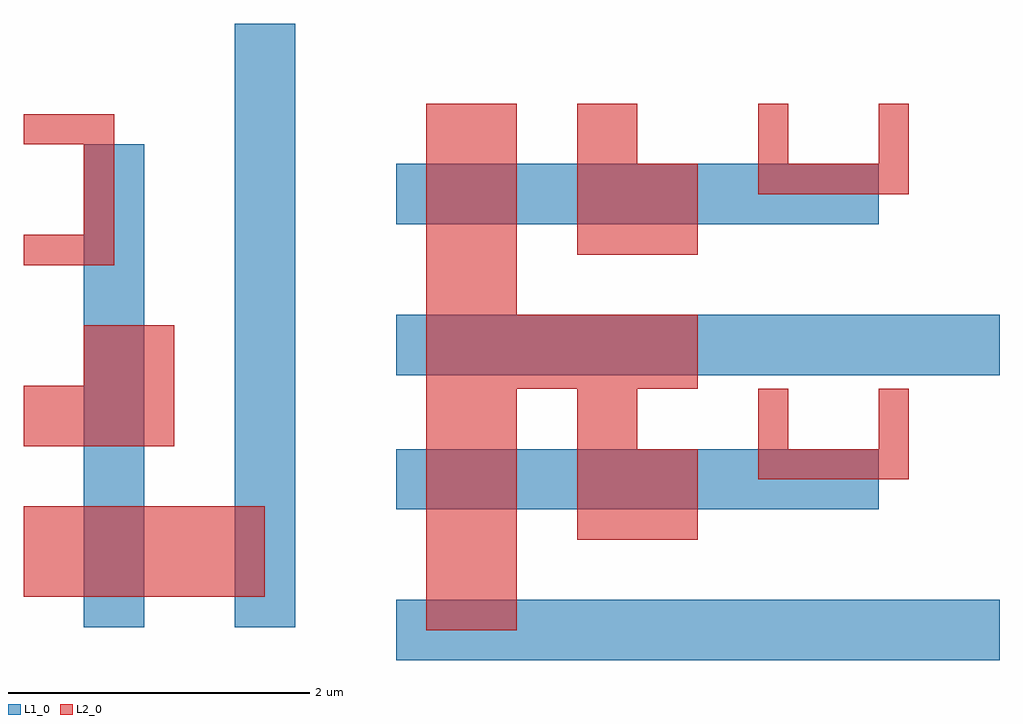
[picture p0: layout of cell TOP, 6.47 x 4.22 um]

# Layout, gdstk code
import gdstk
lib = gdstk.Library(unit=1e-6, precision=1e-09)
def R(c, l, rs):  # rectangles x0, y0, x1, y1
    for r in rs: c.add(gdstk.rectangle(r[:2], r[2:], *l))
def P(c, l, *ps):  # polygons
    for p in ps: c.add(gdstk.Polygon(p, *l))
L1_0 = (1, 0)
L2_0 = (2, 0)
L10_0 = (10, 0)
L11_0 = (11, 0)
L20_0 = (20, 0)
L21_0 = (21, 0)
L300_0 = (300, 0)
L301_0 = (301, 0)
L310_0 = (310, 0)
L311_0 = (311, 0)
L402_0 = (402, 0)
L403_0 = (403, 0)

top = lib.new_cell('TOP')
R(top, L1_0, [(0.07,0.18,4.07,0.58), (-2,0.4,-1.6,3.6), (-1,0.4,-0.6,4.4), (0.07,1.18,3.27,1.58), (0.07,2.07,4.07,2.47), (0.07,3.07,3.27,3.47)])
R(top, L2_0, [(0.27,0.38,0.87,1.98), (-2.4,0.6,-0.8,1.2), (0.27,1.98,2.07,2.47), (0.27,2.27,0.87,3.87)])
P(top, L2_0, [(1.27,0.98),(1.27,1.98),(1.67,1.98),(1.67,1.58),(2.07,1.58),(2.07,0.98)],
  [(2.47,1.38),(2.47,1.98),(2.67,1.98),(2.67,1.58),(3.27,1.58),(3.27,1.98),(3.47,1.98),(3.47,1.38)],
  [(-2.4,1.6),(-2.4,2),(-2,2),(-2,2.4),(-1.4,2.4),(-1.4,1.6)],
  [(-2.4,2.8),(-2.4,3),(-2,3),(-2,3.6),(-2.4,3.6),(-2.4,3.8),(-1.8,3.8),(-1.8,2.8)],
  [(1.27,2.87),(1.27,3.87),(1.67,3.87),(1.67,3.47),(2.07,3.47),(2.07,2.87)],
  [(2.47,3.27),(2.47,3.87),(2.67,3.87),(2.67,3.47),(3.27,3.47),(3.27,3.87),(3.47,3.87),(3.47,3.27)])
top.add(gdstk.FlexPath([(0.07,0.18),(0.07,0.58)], 0, ends="flush", simple_path=True, layer=10, datatype=0))  # L10_0
top.add(gdstk.FlexPath([(0.07,0.58),(4.07,0.58)], 0, ends="flush", simple_path=True, layer=10, datatype=0))  # L10_0
top.add(gdstk.FlexPath([(4.07,0.58),(4.07,0.18)], 0, ends="flush", simple_path=True, layer=10, datatype=0))  # L10_0
top.add(gdstk.FlexPath([(4.07,0.18),(0.07,0.18)], 0, ends="flush", simple_path=True, layer=10, datatype=0))  # L10_0
top.add(gdstk.FlexPath([(0.07,1.18),(0.07,1.58)], 0, ends="flush", simple_path=True, layer=10, datatype=0))  # L10_0
top.add(gdstk.FlexPath([(0.07,1.58),(3.27,1.58)], 0, ends="flush", simple_path=True, layer=10, datatype=0))  # L10_0
top.add(gdstk.FlexPath([(3.27,1.58),(3.27,1.18)], 0, ends="flush", simple_path=True, layer=10, datatype=0))  # L10_0
top.add(gdstk.FlexPath([(3.27,1.18),(0.07,1.18)], 0, ends="flush", simple_path=True, layer=10, datatype=0))  # L10_0
top.add(gdstk.FlexPath([(0.07,2.07),(0.07,2.47)], 0, ends="flush", simple_path=True, layer=10, datatype=0))  # L10_0
top.add(gdstk.FlexPath([(0.07,2.47),(4.07,2.47)], 0, ends="flush", simple_path=True, layer=10, datatype=0))  # L10_0
top.add(gdstk.FlexPath([(4.07,2.47),(4.07,2.07)], 0, ends="flush", simple_path=True, layer=10, datatype=0))  # L10_0
top.add(gdstk.FlexPath([(4.07,2.07),(0.07,2.07)], 0, ends="flush", simple_path=True, layer=10, datatype=0))  # L10_0
top.add(gdstk.FlexPath([(0.07,3.07),(0.07,3.47)], 0, ends="flush", simple_path=True, layer=10, datatype=0))  # L10_0
top.add(gdstk.FlexPath([(0.07,3.47),(3.27,3.47)], 0, ends="flush", simple_path=True, layer=10, datatype=0))  # L10_0
top.add(gdstk.FlexPath([(3.27,3.47),(3.27,3.07)], 0, ends="flush", simple_path=True, layer=10, datatype=0))  # L10_0
top.add(gdstk.FlexPath([(3.27,3.07),(0.07,3.07)], 0, ends="flush", simple_path=True, layer=10, datatype=0))  # L10_0
top.add(gdstk.FlexPath([(-2,0.4),(-2,3.6)], 0, ends="flush", simple_path=True, layer=10, datatype=0))  # L10_0
top.add(gdstk.FlexPath([(-2,3.6),(-1.6,3.6)], 0, ends="flush", simple_path=True, layer=10, datatype=0))  # L10_0
top.add(gdstk.FlexPath([(-1.6,3.6),(-1.6,0.4)], 0, ends="flush", simple_path=True, layer=10, datatype=0))  # L10_0
top.add(gdstk.FlexPath([(-1.6,0.4),(-2,0.4)], 0, ends="flush", simple_path=True, layer=10, datatype=0))  # L10_0
top.add(gdstk.FlexPath([(-1,0.4),(-1,4.4)], 0, ends="flush", simple_path=True, layer=10, datatype=0))  # L10_0
top.add(gdstk.FlexPath([(-1,4.4),(-0.6,4.4)], 0, ends="flush", simple_path=True, layer=10, datatype=0))  # L10_0
top.add(gdstk.FlexPath([(-0.6,4.4),(-0.6,0.4)], 0, ends="flush", simple_path=True, layer=10, datatype=0))  # L10_0
top.add(gdstk.FlexPath([(-0.6,0.4),(-1,0.4)], 0, ends="flush", simple_path=True, layer=10, datatype=0))  # L10_0
top.add(gdstk.FlexPath([(-2.4,0.6),(-2.4,1.2)], 0, ends="flush", simple_path=True, layer=11, datatype=0))  # L11_0
top.add(gdstk.FlexPath([(-2.4,1.2),(-0.8,1.2)], 0, ends="flush", simple_path=True, layer=11, datatype=0))  # L11_0
top.add(gdstk.FlexPath([(-0.8,1.2),(-0.8,0.6)], 0, ends="flush", simple_path=True, layer=11, datatype=0))  # L11_0
top.add(gdstk.FlexPath([(-0.8,0.6),(-2.4,0.6)], 0, ends="flush", simple_path=True, layer=11, datatype=0))  # L11_0
top.add(gdstk.FlexPath([(2.47,1.38),(2.47,1.98)], 0, ends="flush", simple_path=True, layer=11, datatype=0))  # L11_0
top.add(gdstk.FlexPath([(2.47,1.98),(2.67,1.98)], 0, ends="flush", simple_path=True, layer=11, datatype=0))  # L11_0
top.add(gdstk.FlexPath([(2.67,1.98),(2.67,1.58)], 0, ends="flush", simple_path=True, layer=11, datatype=0))  # L11_0
top.add(gdstk.FlexPath([(2.67,1.58),(3.27,1.58)], 0, ends="flush", simple_path=True, layer=11, datatype=0))  # L11_0
top.add(gdstk.FlexPath([(3.27,1.58),(3.27,1.98)], 0, ends="flush", simple_path=True, layer=11, datatype=0))  # L11_0
top.add(gdstk.FlexPath([(3.27,1.98),(3.47,1.98)], 0, ends="flush", simple_path=True, layer=11, datatype=0))  # L11_0
top.add(gdstk.FlexPath([(3.47,1.98),(3.47,1.38)], 0, ends="flush", simple_path=True, layer=11, datatype=0))  # L11_0
top.add(gdstk.FlexPath([(3.47,1.38),(2.47,1.38)], 0, ends="flush", simple_path=True, layer=11, datatype=0))  # L11_0
top.add(gdstk.FlexPath([(-2.4,1.6),(-2.4,2)], 0, ends="flush", simple_path=True, layer=11, datatype=0))  # L11_0
top.add(gdstk.FlexPath([(-2.4,2),(-2,2)], 0, ends="flush", simple_path=True, layer=11, datatype=0))  # L11_0
top.add(gdstk.FlexPath([(-2,2),(-2,2.4)], 0, ends="flush", simple_path=True, layer=11, datatype=0))  # L11_0
top.add(gdstk.FlexPath([(-2,2.4),(-1.4,2.4)], 0, ends="flush", simple_path=True, layer=11, datatype=0))  # L11_0
top.add(gdstk.FlexPath([(-1.4,2.4),(-1.4,1.6)], 0, ends="flush", simple_path=True, layer=11, datatype=0))  # L11_0
top.add(gdstk.FlexPath([(-1.4,1.6),(-2.4,1.6)], 0, ends="flush", simple_path=True, layer=11, datatype=0))  # L11_0
top.add(gdstk.FlexPath([(-2.4,2.8),(-2.4,3)], 0, ends="flush", simple_path=True, layer=11, datatype=0))  # L11_0
top.add(gdstk.FlexPath([(-2.4,3),(-2,3)], 0, ends="flush", simple_path=True, layer=11, datatype=0))  # L11_0
top.add(gdstk.FlexPath([(-2,3),(-2,3.6)], 0, ends="flush", simple_path=True, layer=11, datatype=0))  # L11_0
top.add(gdstk.FlexPath([(-2,3.6),(-2.4,3.6)], 0, ends="flush", simple_path=True, layer=11, datatype=0))  # L11_0
top.add(gdstk.FlexPath([(-2.4,3.6),(-2.4,3.8)], 0, ends="flush", simple_path=True, layer=11, datatype=0))  # L11_0
top.add(gdstk.FlexPath([(-2.4,3.8),(-1.8,3.8)], 0, ends="flush", simple_path=True, layer=11, datatype=0))  # L11_0
top.add(gdstk.FlexPath([(-1.8,3.8),(-1.8,2.8)], 0, ends="flush", simple_path=True, layer=11, datatype=0))  # L11_0
top.add(gdstk.FlexPath([(-1.8,2.8),(-2.4,2.8)], 0, ends="flush", simple_path=True, layer=11, datatype=0))  # L11_0
top.add(gdstk.FlexPath([(0.27,0.38),(0.27,3.87)], 0, ends="flush", simple_path=True, layer=11, datatype=0))  # L11_0
top.add(gdstk.FlexPath([(0.27,3.87),(0.87,3.87)], 0, ends="flush", simple_path=True, layer=11, datatype=0))  # L11_0
top.add(gdstk.FlexPath([(0.87,3.87),(0.87,2.47)], 0, ends="flush", simple_path=True, layer=11, datatype=0))  # L11_0
top.add(gdstk.FlexPath([(0.87,2.47),(2.07,2.47)], 0, ends="flush", simple_path=True, layer=11, datatype=0))  # L11_0
top.add(gdstk.FlexPath([(2.07,2.47),(2.07,1.98)], 0, ends="flush", simple_path=True, layer=11, datatype=0))  # L11_0
top.add(gdstk.FlexPath([(2.07,1.98),(1.67,1.98)], 0, ends="flush", simple_path=True, layer=11, datatype=0))  # L11_0
top.add(gdstk.FlexPath([(1.67,1.98),(1.67,1.58)], 0, ends="flush", simple_path=True, layer=11, datatype=0))  # L11_0
top.add(gdstk.FlexPath([(1.67,1.58),(2.07,1.58)], 0, ends="flush", simple_path=True, layer=11, datatype=0))  # L11_0
top.add(gdstk.FlexPath([(2.07,1.58),(2.07,0.98)], 0, ends="flush", simple_path=True, layer=11, datatype=0))  # L11_0
top.add(gdstk.FlexPath([(2.07,0.98),(1.27,0.98)], 0, ends="flush", simple_path=True, layer=11, datatype=0))  # L11_0
top.add(gdstk.FlexPath([(1.27,0.98),(1.27,1.98)], 0, ends="flush", simple_path=True, layer=11, datatype=0))  # L11_0
top.add(gdstk.FlexPath([(1.27,1.98),(0.87,1.98)], 0, ends="flush", simple_path=True, layer=11, datatype=0))  # L11_0
top.add(gdstk.FlexPath([(0.87,1.98),(0.87,0.38)], 0, ends="flush", simple_path=True, layer=11, datatype=0))  # L11_0
top.add(gdstk.FlexPath([(0.87,0.38),(0.27,0.38)], 0, ends="flush", simple_path=True, layer=11, datatype=0))  # L11_0
top.add(gdstk.FlexPath([(1.27,2.87),(1.27,3.87)], 0, ends="flush", simple_path=True, layer=11, datatype=0))  # L11_0
top.add(gdstk.FlexPath([(1.27,3.87),(1.67,3.87)], 0, ends="flush", simple_path=True, layer=11, datatype=0))  # L11_0
top.add(gdstk.FlexPath([(1.67,3.87),(1.67,3.47)], 0, ends="flush", simple_path=True, layer=11, datatype=0))  # L11_0
top.add(gdstk.FlexPath([(1.67,3.47),(2.07,3.47)], 0, ends="flush", simple_path=True, layer=11, datatype=0))  # L11_0
top.add(gdstk.FlexPath([(2.07,3.47),(2.07,2.87)], 0, ends="flush", simple_path=True, layer=11, datatype=0))  # L11_0
top.add(gdstk.FlexPath([(2.07,2.87),(1.27,2.87)], 0, ends="flush", simple_path=True, layer=11, datatype=0))  # L11_0
top.add(gdstk.FlexPath([(2.47,3.27),(2.47,3.87)], 0, ends="flush", simple_path=True, layer=11, datatype=0))  # L11_0
top.add(gdstk.FlexPath([(2.47,3.87),(2.67,3.87)], 0, ends="flush", simple_path=True, layer=11, datatype=0))  # L11_0
top.add(gdstk.FlexPath([(2.67,3.87),(2.67,3.47)], 0, ends="flush", simple_path=True, layer=11, datatype=0))  # L11_0
top.add(gdstk.FlexPath([(2.67,3.47),(3.27,3.47)], 0, ends="flush", simple_path=True, layer=11, datatype=0))  # L11_0
top.add(gdstk.FlexPath([(3.27,3.47),(3.27,3.87)], 0, ends="flush", simple_path=True, layer=11, datatype=0))  # L11_0
top.add(gdstk.FlexPath([(3.27,3.87),(3.47,3.87)], 0, ends="flush", simple_path=True, layer=11, datatype=0))  # L11_0
top.add(gdstk.FlexPath([(3.47,3.87),(3.47,3.27)], 0, ends="flush", simple_path=True, layer=11, datatype=0))  # L11_0
top.add(gdstk.FlexPath([(3.47,3.27),(2.47,3.27)], 0, ends="flush", simple_path=True, layer=11, datatype=0))  # L11_0
top.add(gdstk.FlexPath([(4.07,0.18),(4.07,0.18)], 0, ends="flush", simple_path=True, layer=20, datatype=0))  # L20_0
top.add(gdstk.FlexPath([(0.07,0.18),(0.07,0.18)], 0, ends="flush", simple_path=True, layer=20, datatype=0))  # L20_0
top.add(gdstk.FlexPath([(0.07,0.58),(0.07,0.58)], 0, ends="flush", simple_path=True, layer=20, datatype=0))  # L20_0
top.add(gdstk.FlexPath([(4.07,0.58),(4.07,0.58)], 0, ends="flush", simple_path=True, layer=20, datatype=0))  # L20_0
top.add(gdstk.FlexPath([(3.27,1.18),(3.27,1.18)], 0, ends="flush", simple_path=True, layer=20, datatype=0))  # L20_0
top.add(gdstk.FlexPath([(0.07,1.18),(0.07,1.18)], 0, ends="flush", simple_path=True, layer=20, datatype=0))  # L20_0
top.add(gdstk.FlexPath([(0.07,1.58),(0.07,1.58)], 0, ends="flush", simple_path=True, layer=20, datatype=0))  # L20_0
top.add(gdstk.FlexPath([(3.27,1.58),(3.27,1.58)], 0, ends="flush", simple_path=True, layer=20, datatype=0))  # L20_0
top.add(gdstk.FlexPath([(4.07,2.07),(4.07,2.07)], 0, ends="flush", simple_path=True, layer=20, datatype=0))  # L20_0
top.add(gdstk.FlexPath([(0.07,2.07),(0.07,2.07)], 0, ends="flush", simple_path=True, layer=20, datatype=0))  # L20_0
top.add(gdstk.FlexPath([(0.07,2.47),(0.07,2.47)], 0, ends="flush", simple_path=True, layer=20, datatype=0))  # L20_0
top.add(gdstk.FlexPath([(4.07,2.47),(4.07,2.47)], 0, ends="flush", simple_path=True, layer=20, datatype=0))  # L20_0
top.add(gdstk.FlexPath([(3.27,3.07),(3.27,3.07)], 0, ends="flush", simple_path=True, layer=20, datatype=0))  # L20_0
top.add(gdstk.FlexPath([(0.07,3.07),(0.07,3.07)], 0, ends="flush", simple_path=True, layer=20, datatype=0))  # L20_0
top.add(gdstk.FlexPath([(0.07,3.47),(0.07,3.47)], 0, ends="flush", simple_path=True, layer=20, datatype=0))  # L20_0
top.add(gdstk.FlexPath([(3.27,3.47),(3.27,3.47)], 0, ends="flush", simple_path=True, layer=20, datatype=0))  # L20_0
top.add(gdstk.FlexPath([(-1.6,0.4),(-1.6,0.4)], 0, ends="flush", simple_path=True, layer=20, datatype=0))  # L20_0
top.add(gdstk.FlexPath([(-2,0.4),(-2,0.4)], 0, ends="flush", simple_path=True, layer=20, datatype=0))  # L20_0
top.add(gdstk.FlexPath([(-2,3.6),(-2,3.6)], 0, ends="flush", simple_path=True, layer=20, datatype=0))  # L20_0
top.add(gdstk.FlexPath([(-1.6,3.6),(-1.6,3.6)], 0, ends="flush", simple_path=True, layer=20, datatype=0))  # L20_0
top.add(gdstk.FlexPath([(-0.6,0.4),(-0.6,0.4)], 0, ends="flush", simple_path=True, layer=20, datatype=0))  # L20_0
top.add(gdstk.FlexPath([(-1,0.4),(-1,0.4)], 0, ends="flush", simple_path=True, layer=20, datatype=0))  # L20_0
top.add(gdstk.FlexPath([(-1,4.4),(-1,4.4)], 0, ends="flush", simple_path=True, layer=20, datatype=0))  # L20_0
top.add(gdstk.FlexPath([(-0.6,4.4),(-0.6,4.4)], 0, ends="flush", simple_path=True, layer=20, datatype=0))  # L20_0
top.add(gdstk.FlexPath([(-0.8,0.6),(-0.8,0.6)], 0, ends="flush", simple_path=True, layer=21, datatype=0))  # L21_0
top.add(gdstk.FlexPath([(-2.4,0.6),(-2.4,0.6)], 0, ends="flush", simple_path=True, layer=21, datatype=0))  # L21_0
top.add(gdstk.FlexPath([(-2.4,1.2),(-2.4,1.2)], 0, ends="flush", simple_path=True, layer=21, datatype=0))  # L21_0
top.add(gdstk.FlexPath([(-0.8,1.2),(-0.8,1.2)], 0, ends="flush", simple_path=True, layer=21, datatype=0))  # L21_0
top.add(gdstk.FlexPath([(3.47,1.38),(3.47,1.38)], 0, ends="flush", simple_path=True, layer=21, datatype=0))  # L21_0
top.add(gdstk.FlexPath([(2.47,1.38),(2.47,1.38)], 0, ends="flush", simple_path=True, layer=21, datatype=0))  # L21_0
top.add(gdstk.FlexPath([(2.47,1.98),(2.47,1.98)], 0, ends="flush", simple_path=True, layer=21, datatype=0))  # L21_0
top.add(gdstk.FlexPath([(2.67,1.98),(2.67,1.98)], 0, ends="flush", simple_path=True, layer=21, datatype=0))  # L21_0
top.add(gdstk.FlexPath([(2.67,1.58),(2.67,1.58)], 0, ends="flush", simple_path=True, layer=21, datatype=0))  # L21_0
top.add(gdstk.FlexPath([(3.27,1.58),(3.27,1.58)], 0, ends="flush", simple_path=True, layer=21, datatype=0))  # L21_0
top.add(gdstk.FlexPath([(3.27,1.98),(3.27,1.98)], 0, ends="flush", simple_path=True, layer=21, datatype=0))  # L21_0
top.add(gdstk.FlexPath([(3.47,1.98),(3.47,1.98)], 0, ends="flush", simple_path=True, layer=21, datatype=0))  # L21_0
top.add(gdstk.FlexPath([(-1.4,1.6),(-1.4,1.6)], 0, ends="flush", simple_path=True, layer=21, datatype=0))  # L21_0
top.add(gdstk.FlexPath([(-2.4,1.6),(-2.4,1.6)], 0, ends="flush", simple_path=True, layer=21, datatype=0))  # L21_0
top.add(gdstk.FlexPath([(-2.4,2),(-2.4,2)], 0, ends="flush", simple_path=True, layer=21, datatype=0))  # L21_0
top.add(gdstk.FlexPath([(-2,2),(-2,2)], 0, ends="flush", simple_path=True, layer=21, datatype=0))  # L21_0
top.add(gdstk.FlexPath([(-2,2.4),(-2,2.4)], 0, ends="flush", simple_path=True, layer=21, datatype=0))  # L21_0
top.add(gdstk.FlexPath([(-1.4,2.4),(-1.4,2.4)], 0, ends="flush", simple_path=True, layer=21, datatype=0))  # L21_0
top.add(gdstk.FlexPath([(-1.8,2.8),(-1.8,2.8)], 0, ends="flush", simple_path=True, layer=21, datatype=0))  # L21_0
top.add(gdstk.FlexPath([(-2.4,2.8),(-2.4,2.8)], 0, ends="flush", simple_path=True, layer=21, datatype=0))  # L21_0
top.add(gdstk.FlexPath([(-2.4,3),(-2.4,3)], 0, ends="flush", simple_path=True, layer=21, datatype=0))  # L21_0
top.add(gdstk.FlexPath([(-2,3),(-2,3)], 0, ends="flush", simple_path=True, layer=21, datatype=0))  # L21_0
top.add(gdstk.FlexPath([(-2,3.6),(-2,3.6)], 0, ends="flush", simple_path=True, layer=21, datatype=0))  # L21_0
top.add(gdstk.FlexPath([(-2.4,3.6),(-2.4,3.6)], 0, ends="flush", simple_path=True, layer=21, datatype=0))  # L21_0
top.add(gdstk.FlexPath([(-2.4,3.8),(-2.4,3.8)], 0, ends="flush", simple_path=True, layer=21, datatype=0))  # L21_0
top.add(gdstk.FlexPath([(-1.8,3.8),(-1.8,3.8)], 0, ends="flush", simple_path=True, layer=21, datatype=0))  # L21_0
top.add(gdstk.FlexPath([(0.87,0.38),(0.87,0.38)], 0, ends="flush", simple_path=True, layer=21, datatype=0))  # L21_0
top.add(gdstk.FlexPath([(0.27,0.38),(0.27,0.38)], 0, ends="flush", simple_path=True, layer=21, datatype=0))  # L21_0
top.add(gdstk.FlexPath([(0.27,3.87),(0.27,3.87)], 0, ends="flush", simple_path=True, layer=21, datatype=0))  # L21_0
top.add(gdstk.FlexPath([(0.87,3.87),(0.87,3.87)], 0, ends="flush", simple_path=True, layer=21, datatype=0))  # L21_0
top.add(gdstk.FlexPath([(0.87,2.47),(0.87,2.47)], 0, ends="flush", simple_path=True, layer=21, datatype=0))  # L21_0
top.add(gdstk.FlexPath([(2.07,2.47),(2.07,2.47)], 0, ends="flush", simple_path=True, layer=21, datatype=0))  # L21_0
top.add(gdstk.FlexPath([(2.07,1.98),(2.07,1.98)], 0, ends="flush", simple_path=True, layer=21, datatype=0))  # L21_0
top.add(gdstk.FlexPath([(1.67,1.98),(1.67,1.98)], 0, ends="flush", simple_path=True, layer=21, datatype=0))  # L21_0
top.add(gdstk.FlexPath([(1.67,1.58),(1.67,1.58)], 0, ends="flush", simple_path=True, layer=21, datatype=0))  # L21_0
top.add(gdstk.FlexPath([(2.07,1.58),(2.07,1.58)], 0, ends="flush", simple_path=True, layer=21, datatype=0))  # L21_0
top.add(gdstk.FlexPath([(2.07,0.98),(2.07,0.98)], 0, ends="flush", simple_path=True, layer=21, datatype=0))  # L21_0
top.add(gdstk.FlexPath([(1.27,0.98),(1.27,0.98)], 0, ends="flush", simple_path=True, layer=21, datatype=0))  # L21_0
top.add(gdstk.FlexPath([(1.27,1.98),(1.27,1.98)], 0, ends="flush", simple_path=True, layer=21, datatype=0))  # L21_0
top.add(gdstk.FlexPath([(0.87,1.98),(0.87,1.98)], 0, ends="flush", simple_path=True, layer=21, datatype=0))  # L21_0
top.add(gdstk.FlexPath([(2.07,2.87),(2.07,2.87)], 0, ends="flush", simple_path=True, layer=21, datatype=0))  # L21_0
top.add(gdstk.FlexPath([(1.27,2.87),(1.27,2.87)], 0, ends="flush", simple_path=True, layer=21, datatype=0))  # L21_0
top.add(gdstk.FlexPath([(1.27,3.87),(1.27,3.87)], 0, ends="flush", simple_path=True, layer=21, datatype=0))  # L21_0
top.add(gdstk.FlexPath([(1.67,3.87),(1.67,3.87)], 0, ends="flush", simple_path=True, layer=21, datatype=0))  # L21_0
top.add(gdstk.FlexPath([(1.67,3.47),(1.67,3.47)], 0, ends="flush", simple_path=True, layer=21, datatype=0))  # L21_0
top.add(gdstk.FlexPath([(2.07,3.47),(2.07,3.47)], 0, ends="flush", simple_path=True, layer=21, datatype=0))  # L21_0
top.add(gdstk.FlexPath([(3.47,3.27),(3.47,3.27)], 0, ends="flush", simple_path=True, layer=21, datatype=0))  # L21_0
top.add(gdstk.FlexPath([(2.47,3.27),(2.47,3.27)], 0, ends="flush", simple_path=True, layer=21, datatype=0))  # L21_0
top.add(gdstk.FlexPath([(2.47,3.87),(2.47,3.87)], 0, ends="flush", simple_path=True, layer=21, datatype=0))  # L21_0
top.add(gdstk.FlexPath([(2.67,3.87),(2.67,3.87)], 0, ends="flush", simple_path=True, layer=21, datatype=0))  # L21_0
top.add(gdstk.FlexPath([(2.67,3.47),(2.67,3.47)], 0, ends="flush", simple_path=True, layer=21, datatype=0))  # L21_0
top.add(gdstk.FlexPath([(3.27,3.47),(3.27,3.47)], 0, ends="flush", simple_path=True, layer=21, datatype=0))  # L21_0
top.add(gdstk.FlexPath([(3.27,3.87),(3.27,3.87)], 0, ends="flush", simple_path=True, layer=21, datatype=0))  # L21_0
top.add(gdstk.FlexPath([(3.47,3.87),(3.47,3.87)], 0, ends="flush", simple_path=True, layer=21, datatype=0))  # L21_0
top.add(gdstk.FlexPath([(-0.8,0.6),(-0.8,0.6)], 0, ends="flush", simple_path=True, layer=300, datatype=0))  # L300_0
top.add(gdstk.FlexPath([(-0.8,1.2),(-0.8,1.2)], 0, ends="flush", simple_path=True, layer=300, datatype=0))  # L300_0
top.add(gdstk.FlexPath([(2.47,1.38),(2.47,1.38)], 0, ends="flush", simple_path=True, layer=300, datatype=0))  # L300_0
top.add(gdstk.FlexPath([(2.67,1.58),(2.67,1.58)], 0, ends="flush", simple_path=True, layer=300, datatype=0))  # L300_0
top.add(gdstk.FlexPath([(3.27,1.58),(3.27,1.58)], 0, ends="flush", simple_path=True, layer=300, datatype=0))  # L300_0
top.add(gdstk.FlexPath([(-2,2),(-2,2)], 0, ends="flush", simple_path=True, layer=300, datatype=0))  # L300_0
top.add(gdstk.FlexPath([(-2,2.4),(-2,2.4)], 0, ends="flush", simple_path=True, layer=300, datatype=0))  # L300_0
top.add(gdstk.FlexPath([(-1.8,2.8),(-1.8,2.8)], 0, ends="flush", simple_path=True, layer=300, datatype=0))  # L300_0
top.add(gdstk.FlexPath([(-2,3),(-2,3)], 0, ends="flush", simple_path=True, layer=300, datatype=0))  # L300_0
top.add(gdstk.FlexPath([(-2,3.6),(-2,3.6)], 0, ends="flush", simple_path=True, layer=300, datatype=0))  # L300_0
top.add(gdstk.FlexPath([(0.87,0.38),(0.87,0.38)], 0, ends="flush", simple_path=True, layer=300, datatype=0))  # L300_0
top.add(gdstk.FlexPath([(0.27,0.38),(0.27,0.38)], 0, ends="flush", simple_path=True, layer=300, datatype=0))  # L300_0
top.add(gdstk.FlexPath([(0.87,2.47),(0.87,2.47)], 0, ends="flush", simple_path=True, layer=300, datatype=0))  # L300_0
top.add(gdstk.FlexPath([(2.07,2.47),(2.07,2.47)], 0, ends="flush", simple_path=True, layer=300, datatype=0))  # L300_0
top.add(gdstk.FlexPath([(1.67,1.58),(1.67,1.58)], 0, ends="flush", simple_path=True, layer=300, datatype=0))  # L300_0
top.add(gdstk.FlexPath([(2.07,1.58),(2.07,1.58)], 0, ends="flush", simple_path=True, layer=300, datatype=0))  # L300_0
top.add(gdstk.FlexPath([(1.67,3.47),(1.67,3.47)], 0, ends="flush", simple_path=True, layer=300, datatype=0))  # L300_0
top.add(gdstk.FlexPath([(2.07,3.47),(2.07,3.47)], 0, ends="flush", simple_path=True, layer=300, datatype=0))  # L300_0
top.add(gdstk.FlexPath([(2.47,3.27),(2.47,3.27)], 0, ends="flush", simple_path=True, layer=300, datatype=0))  # L300_0
top.add(gdstk.FlexPath([(2.67,3.47),(2.67,3.47)], 0, ends="flush", simple_path=True, layer=300, datatype=0))  # L300_0
top.add(gdstk.FlexPath([(3.27,3.47),(3.27,3.47)], 0, ends="flush", simple_path=True, layer=300, datatype=0))  # L300_0
top.add(gdstk.FlexPath([(-2.4,0.6),(-2.4,0.6)], 0, ends="flush", simple_path=True, layer=301, datatype=0))  # L301_0
top.add(gdstk.FlexPath([(-2.4,1.2),(-2.4,1.2)], 0, ends="flush", simple_path=True, layer=301, datatype=0))  # L301_0
top.add(gdstk.FlexPath([(3.47,1.38),(3.47,1.38)], 0, ends="flush", simple_path=True, layer=301, datatype=0))  # L301_0
top.add(gdstk.FlexPath([(2.47,1.98),(2.47,1.98)], 0, ends="flush", simple_path=True, layer=301, datatype=0))  # L301_0
top.add(gdstk.FlexPath([(2.67,1.98),(2.67,1.98)], 0, ends="flush", simple_path=True, layer=301, datatype=0))  # L301_0
top.add(gdstk.FlexPath([(3.27,1.98),(3.27,1.98)], 0, ends="flush", simple_path=True, layer=301, datatype=0))  # L301_0
top.add(gdstk.FlexPath([(3.47,1.98),(3.47,1.98)], 0, ends="flush", simple_path=True, layer=301, datatype=0))  # L301_0
top.add(gdstk.FlexPath([(-1.4,1.6),(-1.4,1.6)], 0, ends="flush", simple_path=True, layer=301, datatype=0))  # L301_0
top.add(gdstk.FlexPath([(-2.4,1.6),(-2.4,1.6)], 0, ends="flush", simple_path=True, layer=301, datatype=0))  # L301_0
top.add(gdstk.FlexPath([(-2.4,2),(-2.4,2)], 0, ends="flush", simple_path=True, layer=301, datatype=0))  # L301_0
top.add(gdstk.FlexPath([(-1.4,2.4),(-1.4,2.4)], 0, ends="flush", simple_path=True, layer=301, datatype=0))  # L301_0
top.add(gdstk.FlexPath([(-2.4,2.8),(-2.4,2.8)], 0, ends="flush", simple_path=True, layer=301, datatype=0))  # L301_0
top.add(gdstk.FlexPath([(-2.4,3),(-2.4,3)], 0, ends="flush", simple_path=True, layer=301, datatype=0))  # L301_0
top.add(gdstk.FlexPath([(-2.4,3.6),(-2.4,3.6)], 0, ends="flush", simple_path=True, layer=301, datatype=0))  # L301_0
top.add(gdstk.FlexPath([(-2.4,3.8),(-2.4,3.8)], 0, ends="flush", simple_path=True, layer=301, datatype=0))  # L301_0
top.add(gdstk.FlexPath([(-1.8,3.8),(-1.8,3.8)], 0, ends="flush", simple_path=True, layer=301, datatype=0))  # L301_0
top.add(gdstk.FlexPath([(0.27,3.87),(0.27,3.87)], 0, ends="flush", simple_path=True, layer=301, datatype=0))  # L301_0
top.add(gdstk.FlexPath([(0.87,3.87),(0.87,3.87)], 0, ends="flush", simple_path=True, layer=301, datatype=0))  # L301_0
top.add(gdstk.FlexPath([(2.07,1.98),(2.07,1.98)], 0, ends="flush", simple_path=True, layer=301, datatype=0))  # L301_0
top.add(gdstk.FlexPath([(1.67,1.98),(1.67,1.98)], 0, ends="flush", simple_path=True, layer=301, datatype=0))  # L301_0
top.add(gdstk.FlexPath([(2.07,0.98),(2.07,0.98)], 0, ends="flush", simple_path=True, layer=301, datatype=0))  # L301_0
top.add(gdstk.FlexPath([(1.27,0.98),(1.27,0.98)], 0, ends="flush", simple_path=True, layer=301, datatype=0))  # L301_0
top.add(gdstk.FlexPath([(1.27,1.98),(1.27,1.98)], 0, ends="flush", simple_path=True, layer=301, datatype=0))  # L301_0
top.add(gdstk.FlexPath([(0.87,1.98),(0.87,1.98)], 0, ends="flush", simple_path=True, layer=301, datatype=0))  # L301_0
top.add(gdstk.FlexPath([(2.07,2.87),(2.07,2.87)], 0, ends="flush", simple_path=True, layer=301, datatype=0))  # L301_0
top.add(gdstk.FlexPath([(1.27,2.87),(1.27,2.87)], 0, ends="flush", simple_path=True, layer=301, datatype=0))  # L301_0
top.add(gdstk.FlexPath([(1.27,3.87),(1.27,3.87)], 0, ends="flush", simple_path=True, layer=301, datatype=0))  # L301_0
top.add(gdstk.FlexPath([(1.67,3.87),(1.67,3.87)], 0, ends="flush", simple_path=True, layer=301, datatype=0))  # L301_0
top.add(gdstk.FlexPath([(3.47,3.27),(3.47,3.27)], 0, ends="flush", simple_path=True, layer=301, datatype=0))  # L301_0
top.add(gdstk.FlexPath([(2.47,3.87),(2.47,3.87)], 0, ends="flush", simple_path=True, layer=301, datatype=0))  # L301_0
top.add(gdstk.FlexPath([(2.67,3.87),(2.67,3.87)], 0, ends="flush", simple_path=True, layer=301, datatype=0))  # L301_0
top.add(gdstk.FlexPath([(3.27,3.87),(3.27,3.87)], 0, ends="flush", simple_path=True, layer=301, datatype=0))  # L301_0
top.add(gdstk.FlexPath([(3.47,3.87),(3.47,3.87)], 0, ends="flush", simple_path=True, layer=301, datatype=0))  # L301_0
top.add(gdstk.FlexPath([(-0.8,0.6),(-0.8,0.6)], 0, ends="flush", simple_path=True, layer=310, datatype=0))  # L310_0
top.add(gdstk.FlexPath([(-0.8,1.2),(-0.8,1.2)], 0, ends="flush", simple_path=True, layer=310, datatype=0))  # L310_0
top.add(gdstk.FlexPath([(2.47,1.38),(2.47,1.38)], 0, ends="flush", simple_path=True, layer=310, datatype=0))  # L310_0
top.add(gdstk.FlexPath([(2.67,1.58),(2.67,1.58)], 0, ends="flush", simple_path=True, layer=310, datatype=0))  # L310_0
top.add(gdstk.FlexPath([(3.27,1.58),(3.27,1.58)], 0, ends="flush", simple_path=True, layer=310, datatype=0))  # L310_0
top.add(gdstk.FlexPath([(-2,2),(-2,2)], 0, ends="flush", simple_path=True, layer=310, datatype=0))  # L310_0
top.add(gdstk.FlexPath([(-2,2.4),(-2,2.4)], 0, ends="flush", simple_path=True, layer=310, datatype=0))  # L310_0
top.add(gdstk.FlexPath([(-1.8,2.8),(-1.8,2.8)], 0, ends="flush", simple_path=True, layer=310, datatype=0))  # L310_0
top.add(gdstk.FlexPath([(-2,3),(-2,3)], 0, ends="flush", simple_path=True, layer=310, datatype=0))  # L310_0
top.add(gdstk.FlexPath([(-2,3.6),(-2,3.6)], 0, ends="flush", simple_path=True, layer=310, datatype=0))  # L310_0
top.add(gdstk.FlexPath([(0.87,0.38),(0.87,0.38)], 0, ends="flush", simple_path=True, layer=310, datatype=0))  # L310_0
top.add(gdstk.FlexPath([(0.27,0.38),(0.27,0.38)], 0, ends="flush", simple_path=True, layer=310, datatype=0))  # L310_0
top.add(gdstk.FlexPath([(0.87,2.47),(0.87,2.47)], 0, ends="flush", simple_path=True, layer=310, datatype=0))  # L310_0
top.add(gdstk.FlexPath([(2.07,2.47),(2.07,2.47)], 0, ends="flush", simple_path=True, layer=310, datatype=0))  # L310_0
top.add(gdstk.FlexPath([(1.67,1.58),(1.67,1.58)], 0, ends="flush", simple_path=True, layer=310, datatype=0))  # L310_0
top.add(gdstk.FlexPath([(2.07,1.58),(2.07,1.58)], 0, ends="flush", simple_path=True, layer=310, datatype=0))  # L310_0
top.add(gdstk.FlexPath([(1.67,3.47),(1.67,3.47)], 0, ends="flush", simple_path=True, layer=310, datatype=0))  # L310_0
top.add(gdstk.FlexPath([(2.07,3.47),(2.07,3.47)], 0, ends="flush", simple_path=True, layer=310, datatype=0))  # L310_0
top.add(gdstk.FlexPath([(2.47,3.27),(2.47,3.27)], 0, ends="flush", simple_path=True, layer=310, datatype=0))  # L310_0
top.add(gdstk.FlexPath([(2.67,3.47),(2.67,3.47)], 0, ends="flush", simple_path=True, layer=310, datatype=0))  # L310_0
top.add(gdstk.FlexPath([(3.27,3.47),(3.27,3.47)], 0, ends="flush", simple_path=True, layer=310, datatype=0))  # L310_0
top.add(gdstk.FlexPath([(-2.4,0.6),(-2.4,0.6)], 0, ends="flush", simple_path=True, layer=311, datatype=0))  # L311_0
top.add(gdstk.FlexPath([(-2.4,1.2),(-2.4,1.2)], 0, ends="flush", simple_path=True, layer=311, datatype=0))  # L311_0
top.add(gdstk.FlexPath([(3.47,1.38),(3.47,1.38)], 0, ends="flush", simple_path=True, layer=311, datatype=0))  # L311_0
top.add(gdstk.FlexPath([(2.47,1.98),(2.47,1.98)], 0, ends="flush", simple_path=True, layer=311, datatype=0))  # L311_0
top.add(gdstk.FlexPath([(2.67,1.98),(2.67,1.98)], 0, ends="flush", simple_path=True, layer=311, datatype=0))  # L311_0
top.add(gdstk.FlexPath([(3.27,1.98),(3.27,1.98)], 0, ends="flush", simple_path=True, layer=311, datatype=0))  # L311_0
top.add(gdstk.FlexPath([(3.47,1.98),(3.47,1.98)], 0, ends="flush", simple_path=True, layer=311, datatype=0))  # L311_0
top.add(gdstk.FlexPath([(-1.4,1.6),(-1.4,1.6)], 0, ends="flush", simple_path=True, layer=311, datatype=0))  # L311_0
top.add(gdstk.FlexPath([(-2.4,1.6),(-2.4,1.6)], 0, ends="flush", simple_path=True, layer=311, datatype=0))  # L311_0
top.add(gdstk.FlexPath([(-2.4,2),(-2.4,2)], 0, ends="flush", simple_path=True, layer=311, datatype=0))  # L311_0
top.add(gdstk.FlexPath([(-1.4,2.4),(-1.4,2.4)], 0, ends="flush", simple_path=True, layer=311, datatype=0))  # L311_0
top.add(gdstk.FlexPath([(-2.4,2.8),(-2.4,2.8)], 0, ends="flush", simple_path=True, layer=311, datatype=0))  # L311_0
top.add(gdstk.FlexPath([(-2.4,3),(-2.4,3)], 0, ends="flush", simple_path=True, layer=311, datatype=0))  # L311_0
top.add(gdstk.FlexPath([(-2.4,3.6),(-2.4,3.6)], 0, ends="flush", simple_path=True, layer=311, datatype=0))  # L311_0
top.add(gdstk.FlexPath([(-2.4,3.8),(-2.4,3.8)], 0, ends="flush", simple_path=True, layer=311, datatype=0))  # L311_0
top.add(gdstk.FlexPath([(-1.8,3.8),(-1.8,3.8)], 0, ends="flush", simple_path=True, layer=311, datatype=0))  # L311_0
top.add(gdstk.FlexPath([(0.27,3.87),(0.27,3.87)], 0, ends="flush", simple_path=True, layer=311, datatype=0))  # L311_0
top.add(gdstk.FlexPath([(0.87,3.87),(0.87,3.87)], 0, ends="flush", simple_path=True, layer=311, datatype=0))  # L311_0
top.add(gdstk.FlexPath([(2.07,1.98),(2.07,1.98)], 0, ends="flush", simple_path=True, layer=311, datatype=0))  # L311_0
top.add(gdstk.FlexPath([(1.67,1.98),(1.67,1.98)], 0, ends="flush", simple_path=True, layer=311, datatype=0))  # L311_0
top.add(gdstk.FlexPath([(2.07,0.98),(2.07,0.98)], 0, ends="flush", simple_path=True, layer=311, datatype=0))  # L311_0
top.add(gdstk.FlexPath([(1.27,0.98),(1.27,0.98)], 0, ends="flush", simple_path=True, layer=311, datatype=0))  # L311_0
top.add(gdstk.FlexPath([(1.27,1.98),(1.27,1.98)], 0, ends="flush", simple_path=True, layer=311, datatype=0))  # L311_0
top.add(gdstk.FlexPath([(0.87,1.98),(0.87,1.98)], 0, ends="flush", simple_path=True, layer=311, datatype=0))  # L311_0
top.add(gdstk.FlexPath([(2.07,2.87),(2.07,2.87)], 0, ends="flush", simple_path=True, layer=311, datatype=0))  # L311_0
top.add(gdstk.FlexPath([(1.27,2.87),(1.27,2.87)], 0, ends="flush", simple_path=True, layer=311, datatype=0))  # L311_0
top.add(gdstk.FlexPath([(1.27,3.87),(1.27,3.87)], 0, ends="flush", simple_path=True, layer=311, datatype=0))  # L311_0
top.add(gdstk.FlexPath([(1.67,3.87),(1.67,3.87)], 0, ends="flush", simple_path=True, layer=311, datatype=0))  # L311_0
top.add(gdstk.FlexPath([(3.47,3.27),(3.47,3.27)], 0, ends="flush", simple_path=True, layer=311, datatype=0))  # L311_0
top.add(gdstk.FlexPath([(2.47,3.87),(2.47,3.87)], 0, ends="flush", simple_path=True, layer=311, datatype=0))  # L311_0
top.add(gdstk.FlexPath([(2.67,3.87),(2.67,3.87)], 0, ends="flush", simple_path=True, layer=311, datatype=0))  # L311_0
top.add(gdstk.FlexPath([(3.27,3.87),(3.27,3.87)], 0, ends="flush", simple_path=True, layer=311, datatype=0))  # L311_0
top.add(gdstk.FlexPath([(3.47,3.87),(3.47,3.87)], 0, ends="flush", simple_path=True, layer=311, datatype=0))  # L311_0
top.add(gdstk.FlexPath([(0.07,0.18),(0.07,0.58)], 0, ends="flush", simple_path=True, layer=402, datatype=0))  # L402_0
top.add(gdstk.FlexPath([(0.07,0.58),(4.07,0.58)], 0, ends="flush", simple_path=True, layer=402, datatype=0))  # L402_0
top.add(gdstk.FlexPath([(4.07,0.58),(4.07,0.18)], 0, ends="flush", simple_path=True, layer=402, datatype=0))  # L402_0
top.add(gdstk.FlexPath([(4.07,0.18),(0.07,0.18)], 0, ends="flush", simple_path=True, layer=402, datatype=0))  # L402_0
top.add(gdstk.FlexPath([(0.07,1.18),(0.07,1.58)], 0, ends="flush", simple_path=True, layer=402, datatype=0))  # L402_0
top.add(gdstk.FlexPath([(0.07,1.58),(3.27,1.58)], 0, ends="flush", simple_path=True, layer=402, datatype=0))  # L402_0
top.add(gdstk.FlexPath([(3.27,1.58),(3.27,1.18)], 0, ends="flush", simple_path=True, layer=402, datatype=0))  # L402_0
top.add(gdstk.FlexPath([(3.27,1.18),(0.07,1.18)], 0, ends="flush", simple_path=True, layer=402, datatype=0))  # L402_0
top.add(gdstk.FlexPath([(0.07,2.07),(0.07,2.47)], 0, ends="flush", simple_path=True, layer=402, datatype=0))  # L402_0
top.add(gdstk.FlexPath([(0.07,2.47),(4.07,2.47)], 0, ends="flush", simple_path=True, layer=402, datatype=0))  # L402_0
top.add(gdstk.FlexPath([(4.07,2.47),(4.07,2.07)], 0, ends="flush", simple_path=True, layer=402, datatype=0))  # L402_0
top.add(gdstk.FlexPath([(4.07,2.07),(0.07,2.07)], 0, ends="flush", simple_path=True, layer=402, datatype=0))  # L402_0
top.add(gdstk.FlexPath([(0.07,3.07),(0.07,3.47)], 0, ends="flush", simple_path=True, layer=402, datatype=0))  # L402_0
top.add(gdstk.FlexPath([(0.07,3.47),(3.27,3.47)], 0, ends="flush", simple_path=True, layer=402, datatype=0))  # L402_0
top.add(gdstk.FlexPath([(3.27,3.47),(3.27,3.07)], 0, ends="flush", simple_path=True, layer=402, datatype=0))  # L402_0
top.add(gdstk.FlexPath([(3.27,3.07),(0.07,3.07)], 0, ends="flush", simple_path=True, layer=402, datatype=0))  # L402_0
top.add(gdstk.FlexPath([(-2,0.4),(-2,3.6)], 0, ends="flush", simple_path=True, layer=402, datatype=0))  # L402_0
top.add(gdstk.FlexPath([(-2,3.6),(-1.6,3.6)], 0, ends="flush", simple_path=True, layer=402, datatype=0))  # L402_0
top.add(gdstk.FlexPath([(-1.6,3.6),(-1.6,0.4)], 0, ends="flush", simple_path=True, layer=402, datatype=0))  # L402_0
top.add(gdstk.FlexPath([(-1.6,0.4),(-2,0.4)], 0, ends="flush", simple_path=True, layer=402, datatype=0))  # L402_0
top.add(gdstk.FlexPath([(-1,0.4),(-1,4.4)], 0, ends="flush", simple_path=True, layer=402, datatype=0))  # L402_0
top.add(gdstk.FlexPath([(-1,4.4),(-0.6,4.4)], 0, ends="flush", simple_path=True, layer=402, datatype=0))  # L402_0
top.add(gdstk.FlexPath([(-0.6,4.4),(-0.6,0.4)], 0, ends="flush", simple_path=True, layer=402, datatype=0))  # L402_0
top.add(gdstk.FlexPath([(-0.6,0.4),(-1,0.4)], 0, ends="flush", simple_path=True, layer=402, datatype=0))  # L402_0
top.add(gdstk.FlexPath([(0.07,0.18),(0.07,0.58)], 0, ends="flush", simple_path=True, layer=403, datatype=0))  # L403_0
top.add(gdstk.FlexPath([(0.07,0.58),(4.07,0.58)], 0, ends="flush", simple_path=True, layer=403, datatype=0))  # L403_0
top.add(gdstk.FlexPath([(4.07,0.58),(4.07,0.18)], 0, ends="flush", simple_path=True, layer=403, datatype=0))  # L403_0
top.add(gdstk.FlexPath([(4.07,0.18),(0.07,0.18)], 0, ends="flush", simple_path=True, layer=403, datatype=0))  # L403_0
top.add(gdstk.FlexPath([(0.07,1.18),(0.07,1.58)], 0, ends="flush", simple_path=True, layer=403, datatype=0))  # L403_0
top.add(gdstk.FlexPath([(0.07,1.58),(3.27,1.58)], 0, ends="flush", simple_path=True, layer=403, datatype=0))  # L403_0
top.add(gdstk.FlexPath([(3.27,1.58),(3.27,1.18)], 0, ends="flush", simple_path=True, layer=403, datatype=0))  # L403_0
top.add(gdstk.FlexPath([(3.27,1.18),(0.07,1.18)], 0, ends="flush", simple_path=True, layer=403, datatype=0))  # L403_0
top.add(gdstk.FlexPath([(0.07,2.07),(0.07,2.47)], 0, ends="flush", simple_path=True, layer=403, datatype=0))  # L403_0
top.add(gdstk.FlexPath([(0.07,2.47),(4.07,2.47)], 0, ends="flush", simple_path=True, layer=403, datatype=0))  # L403_0
top.add(gdstk.FlexPath([(4.07,2.47),(4.07,2.07)], 0, ends="flush", simple_path=True, layer=403, datatype=0))  # L403_0
top.add(gdstk.FlexPath([(4.07,2.07),(0.07,2.07)], 0, ends="flush", simple_path=True, layer=403, datatype=0))  # L403_0
top.add(gdstk.FlexPath([(0.07,3.07),(0.07,3.47)], 0, ends="flush", simple_path=True, layer=403, datatype=0))  # L403_0
top.add(gdstk.FlexPath([(0.07,3.47),(3.27,3.47)], 0, ends="flush", simple_path=True, layer=403, datatype=0))  # L403_0
top.add(gdstk.FlexPath([(3.27,3.47),(3.27,3.07)], 0, ends="flush", simple_path=True, layer=403, datatype=0))  # L403_0
top.add(gdstk.FlexPath([(3.27,3.07),(0.07,3.07)], 0, ends="flush", simple_path=True, layer=403, datatype=0))  # L403_0
top.add(gdstk.FlexPath([(-2,0.4),(-2,3.6)], 0, ends="flush", simple_path=True, layer=403, datatype=0))  # L403_0
top.add(gdstk.FlexPath([(-2,3.6),(-1.6,3.6)], 0, ends="flush", simple_path=True, layer=403, datatype=0))  # L403_0
top.add(gdstk.FlexPath([(-1.6,3.6),(-1.6,0.4)], 0, ends="flush", simple_path=True, layer=403, datatype=0))  # L403_0
top.add(gdstk.FlexPath([(-1.6,0.4),(-2,0.4)], 0, ends="flush", simple_path=True, layer=403, datatype=0))  # L403_0
top.add(gdstk.FlexPath([(-1,0.4),(-1,4.4)], 0, ends="flush", simple_path=True, layer=403, datatype=0))  # L403_0
top.add(gdstk.FlexPath([(-1,4.4),(-0.6,4.4)], 0, ends="flush", simple_path=True, layer=403, datatype=0))  # L403_0
top.add(gdstk.FlexPath([(-0.6,4.4),(-0.6,0.4)], 0, ends="flush", simple_path=True, layer=403, datatype=0))  # L403_0
top.add(gdstk.FlexPath([(-0.6,0.4),(-1,0.4)], 0, ends="flush", simple_path=True, layer=403, datatype=0))  # L403_0

lib.write_gds('TOP.gds')
